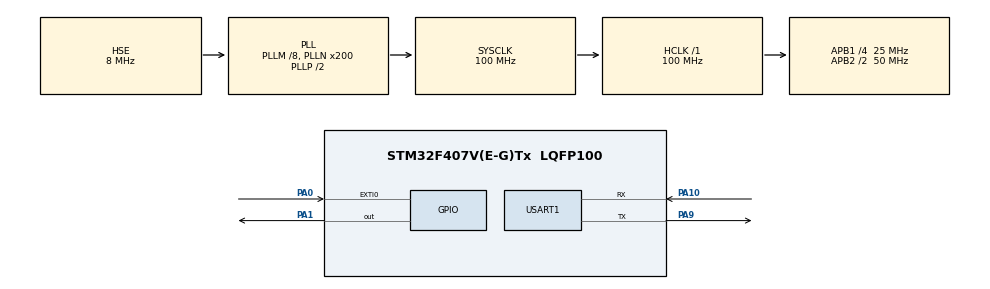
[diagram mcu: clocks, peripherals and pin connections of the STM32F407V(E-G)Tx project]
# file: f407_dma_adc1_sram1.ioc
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ADC1.Channel-0\#ChannelRegularConversion=ADC_CHANNEL_TEMPSENSOR
ADC1.Channel-1\#ChannelRegularConversion=ADC_CHANNEL_TEMPSENSOR
ADC1.Channel-10\#ChannelRegularConversion=ADC_CHANNEL_TEMPSENSOR
ADC1.Channel-11\#ChannelRegularConversion=ADC_CHANNEL_TEMPSENSOR
ADC1.Channel-12\#ChannelRegularConversion=ADC_CHANNEL_TEMPSENSOR
ADC1.Channel-13\#ChannelRegularConversion=ADC_CHANNEL_TEMPSENSOR
ADC1.Channel-14\#ChannelRegularConversion=ADC_CHANNEL_TEMPSENSOR
ADC1.Channel-15\#ChannelRegularConversion=ADC_CHANNEL_TEMPSENSOR
ADC1.Channel-2\#ChannelRegularConversion=ADC_CHANNEL_TEMPSENSOR
ADC1.Channel-3\#ChannelRegularConversion=ADC_CHANNEL_TEMPSENSOR
ADC1.Channel-4\#ChannelRegularConversion=ADC_CHANNEL_TEMPSENSOR
ADC1.Channel-5\#ChannelRegularConversion=ADC_CHANNEL_TEMPSENSOR
ADC1.Channel-6\#ChannelRegularConversion=ADC_CHANNEL_TEMPSENSOR
ADC1.Channel-7\#ChannelRegularConversion=ADC_CHANNEL_TEMPSENSOR
ADC1.Channel-8\#ChannelRegularConversion=ADC_CHANNEL_TEMPSENSOR
ADC1.Channel-9\#ChannelRegularConversion=ADC_CHANNEL_TEMPSENSOR
ADC1.ContinuousConvMode=ENABLE
ADC1.DMAContinuousRequests=ENABLE
ADC1.NbrOfConversion=16
ADC1.NbrOfConversionFlag=1
ADC1.Rank-0\#ChannelRegularConversion=1
ADC1.Rank-1\#ChannelRegularConversion=2
ADC1.Rank-10\#ChannelRegularConversion=11
ADC1.Rank-11\#ChannelRegularConversion=12
ADC1.Rank-12\#ChannelRegularConversion=13
ADC1.Rank-13\#ChannelRegularConversion=14
ADC1.Rank-14\#ChannelRegularConversion=15
ADC1.Rank-15\#ChannelRegularConversion=16
ADC1.Rank-2\#ChannelRegularConversion=3
ADC1.Rank-3\#ChannelRegularConversion=4
ADC1.Rank-4\#ChannelRegularConversion=5
ADC1.Rank-5\#ChannelRegularConversion=6
ADC1.Rank-6\#ChannelRegularConversion=7
ADC1.Rank-7\#ChannelRegularConversion=8
ADC1.Rank-8\#ChannelRegularConversion=9
ADC1.Rank-9\#ChannelRegularConversion=10
ADC1.SamplingTime-0\#ChannelRegularConversion=ADC_SAMPLETIME_3CYCLES
ADC1.SamplingTime-1\#ChannelRegularConversion=ADC_SAMPLETIME_3CYCLES
ADC1.SamplingTime-10\#ChannelRegularConversion=ADC_SAMPLETIME_3CYCLES
ADC1.SamplingTime-11\#ChannelRegularConversion=ADC_SAMPLETIME_3CYCLES
ADC1.SamplingTime-12\#ChannelRegularConversion=ADC_SAMPLETIME_3CYCLES
ADC1.SamplingTime-13\#ChannelRegularConversion=ADC_SAMPLETIME_3CYCLES
ADC1.SamplingTime-14\#ChannelRegularConversion=ADC_SAMPLETIME_3CYCLES
ADC1.SamplingTime-15\#ChannelRegularConversion=ADC_SAMPLETIME_3CYCLES
ADC1.SamplingTime-2\#ChannelRegularConversion=ADC_SAMPLETIME_3CYCLES
ADC1.SamplingTime-3\#ChannelRegularConversion=ADC_SAMPLETIME_3CYCLES
ADC1.SamplingTime-4\#ChannelRegularConversion=ADC_SAMPLETIME_3CYCLES
ADC1.SamplingTime-5\#ChannelRegularConversion=ADC_SAMPLETIME_3CYCLES
ADC1.SamplingTime-6\#ChannelRegularConversion=ADC_SAMPLETIME_3CYCLES
ADC1.SamplingTime-7\#ChannelRegularConversion=ADC_SAMPLETIME_3CYCLES
ADC1.SamplingTime-8\#ChannelRegularConversion=ADC_SAMPLETIME_3CYCLES
ADC1.SamplingTime-9\#ChannelRegularConversion=ADC_SAMPLETIME_3CYCLES
ADC1.master=1
Dma.ADC1.0.Direction=DMA_PERIPH_TO_MEMORY
Dma.ADC1.0.FIFOMode=DMA_FIFOMODE_DISABLE
Dma.ADC1.0.Instance=DMA2_Stream4
Dma.ADC1.0.MemDataAlignment=DMA_MDATAALIGN_HALFWORD
Dma.ADC1.0.MemInc=DMA_MINC_ENABLE
Dma.ADC1.0.Mode=DMA_NORMAL
Dma.ADC1.0.PeriphDataAlignment=DMA_PDATAALIGN_HALFWORD
Dma.ADC1.0.PeriphInc=DMA_PINC_DISABLE
Dma.ADC1.0.Priority=DMA_PRIORITY_LOW
Dma.Request0=ADC1
Mcu.Family=STM32F4
Mcu.Name=STM32F407V(E-G)Tx
Mcu.Package=LQFP100
NVIC.DMA2_Stream4_IRQn=true\:0\:0\:false\:false\:true\:false\:true
NVIC.EXTI0_IRQn=true\:0\:0\:false\:false\:true\:true\:true
NVIC.PriorityGroup=NVIC_PRIORITYGROUP_4
PA0-WKUP.GPIO_PuPd=GPIO_PULLDOWN
PA0-WKUP.Signal=GPXTI0
PA1.Signal=GPIO_Output
PA10.Mode=Asynchronous
PA10.Signal=USART1_RX
PA13.Mode=Serial_Wire
PA13.Signal=SYS_JTMS-SWDIO
PA14.Mode=Serial_Wire
PA14.Signal=SYS_JTCK-SWCLK
PA9.Mode=Asynchronous
PA9.Signal=USART1_TX
PH0-OSC_IN.Mode=HSE-External-Oscillator
PH0-OSC_IN.Signal=RCC_OSC_IN
PH1-OSC_OUT.Mode=HSE-External-Oscillator
PH1-OSC_OUT.Signal=RCC_OSC_OUT
ProjectManager.HeapSize=0x200
ProjectManager.StackSize=0x400
ProjectManager.TargetToolchain=STM32CubeIDE
RCC.48MHZClocksFreq_Value=50000000
RCC.AHBFreq_Value=100000000
RCC.APB1CLKDivider=RCC_HCLK_DIV4
RCC.APB1Freq_Value=25000000
RCC.APB1TimFreq_Value=50000000
RCC.APB2CLKDivider=RCC_HCLK_DIV2
RCC.APB2Freq_Value=50000000
RCC.APB2TimFreq_Value=100000000
RCC.CortexFreq_Value=100000000
RCC.HCLKFreq_Value=100000000
RCC.HSE_VALUE=8000000
RCC.HSI_VALUE=16000000
RCC.LSE_VALUE=32768
RCC.PLLM=8
RCC.PLLN=200
RCC.PLLSourceVirtual=RCC_PLLSOURCE_HSE
RCC.SYSCLKFreq_VALUE=100000000
RCC.SYSCLKSource=RCC_SYSCLKSOURCE_PLLCLK
RCC.VCOOutputFreq_Value=200000000
USART1.VirtualMode=VM_ASYNC
VP_ADC1_TempSens_Input.Mode=IN-TempSens
board=custom

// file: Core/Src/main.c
/* USER CODE BEGIN Header */
// DevEBox STM32F407VGT6 dev board
// Demo DMA data transfer between ADC1 and SRAM1 using DMA2 master.
// Using CubeMX configure :
// ADC1 input channel : internal temperature
// 12bit conversion
// continuous mode
// 16 samples at a time
// software conversion trigger
// DMA2 stream4 for the DMA/channel/stream mapping.
// Conversion triggered by user pressing the PA0 board button K1 which connects the
// pin to VCC.
// Put the destinationBuffer in watch expressions window, and a breakpoint in the
// adcConvCmpltCallback, so you can see the new buffer values after each button
// press.
// Unfortunately was getting negative temperatures and on googling found this
// https://stm32f4-discovery.net/2014/04/library-06-ad-converter-on-stm32f4xx/
// So the internal temperature sensor is only useful for measuring temperature changes,
// not absolute temperatures.

/* USER CODE END Header */

#include "main.h"

/* USER CODE BEGIN Includes */
#include <stdio.h>
#include <string.h>
/* USER CODE END Includes */

ADC_HandleTypeDef hadc1;
DMA_HandleTypeDef hdma_adc1;

UART_HandleTypeDef huart1;

void SystemClock_Config(void);
static void MX_GPIO_Init(void);
static void MX_DMA_Init(void);
static void MX_USART1_UART_Init(void);
static void MX_ADC1_Init(void);

/* USER CODE BEGIN 0 */
uint16_t destinationBuffer[16];
/* USER CODE END 0 */

int main(void)
{

  /* MCU Configuration--------------------------------------------------------*/

  /* Reset of all peripherals, Initializes the Flash interface and the Systick. */
  HAL_Init();

  /* Configure the system clock */
  SystemClock_Config();

  /* Initialize all configured peripherals */
  MX_GPIO_Init();
  MX_DMA_Init();
  MX_USART1_UART_Init();
  MX_ADC1_Init();

  /* Infinite loop */
  while (1)
  {

  }
}

void SystemClock_Config(void)
{
  RCC_OscInitTypeDef RCC_OscInitStruct = {0};
  RCC_ClkInitTypeDef RCC_ClkInitStruct = {0};

  /** Configure the main internal regulator output voltage
  */
  __HAL_RCC_PWR_CLK_ENABLE();
  __HAL_PWR_VOLTAGESCALING_CONFIG(PWR_REGULATOR_VOLTAGE_SCALE1);
  /** Initializes the CPU, AHB and APB busses clocks
  */
  RCC_OscInitStruct.OscillatorType = RCC_OSCILLATORTYPE_HSE;
  RCC_OscInitStruct.HSEState = RCC_HSE_ON;
  RCC_OscInitStruct.PLL.PLLState = RCC_PLL_ON;
  RCC_OscInitStruct.PLL.PLLSource = RCC_PLLSOURCE_HSE;
  RCC_OscInitStruct.PLL.PLLM = 8;
  RCC_OscInitStruct.PLL.PLLN = 200;
  RCC_OscInitStruct.PLL.PLLP = RCC_PLLP_DIV2;
  RCC_OscInitStruct.PLL.PLLQ = 4;
  if (HAL_RCC_OscConfig(&RCC_OscInitStruct) != HAL_OK)
  {
    Error_Handler();
  }
  /** Initializes the CPU, AHB and APB busses clocks
  */
  RCC_ClkInitStruct.ClockType = RCC_CLOCKTYPE_HCLK|RCC_CLOCKTYPE_SYSCLK
                              |RCC_CLOCKTYPE_PCLK1|RCC_CLOCKTYPE_PCLK2;
  RCC_ClkInitStruct.SYSCLKSource = RCC_SYSCLKSOURCE_PLLCLK;
  RCC_ClkInitStruct.AHBCLKDivider = RCC_SYSCLK_DIV1;
  RCC_ClkInitStruct.APB1CLKDivider = RCC_HCLK_DIV4;
  RCC_ClkInitStruct.APB2CLKDivider = RCC_HCLK_DIV2;

  if (HAL_RCC_ClockConfig(&RCC_ClkInitStruct, FLASH_LATENCY_3) != HAL_OK)
  {
    Error_Handler();
  }
}

static void MX_ADC1_Init(void)
{

  ADC_ChannelConfTypeDef sConfig = {0};

  /** Configure the global features of the ADC (Clock, Resolution, Data Alignment and number of conversion)
  */
  hadc1.Instance = ADC1;
  hadc1.Init.ClockPrescaler = ADC_CLOCK_SYNC_PCLK_DIV2;
  hadc1.Init.Resolution = ADC_RESOLUTION_12B;
  hadc1.Init.ScanConvMode = ENABLE;
  hadc1.Init.ContinuousConvMode = ENABLE;
  hadc1.Init.DiscontinuousConvMode = DISABLE;
  hadc1.Init.ExternalTrigConvEdge = ADC_EXTERNALTRIGCONVEDGE_NONE;
  hadc1.Init.ExternalTrigConv = ADC_SOFTWARE_START;
  hadc1.Init.DataAlign = ADC_DATAALIGN_RIGHT;
  hadc1.Init.NbrOfConversion = 16;
  hadc1.Init.DMAContinuousRequests = ENABLE;
  hadc1.Init.EOCSelection = ADC_EOC_SINGLE_CONV;
  if (HAL_ADC_Init(&hadc1) != HAL_OK)
  {
    Error_Handler();
  }
  /** Configure for the selected ADC regular channel its corresponding rank in the sequencer and its sample time.
  */
  sConfig.Channel = ADC_CHANNEL_TEMPSENSOR;
  sConfig.Rank = 1;
  sConfig.SamplingTime = ADC_SAMPLETIME_3CYCLES;
  if (HAL_ADC_ConfigChannel(&hadc1, &sConfig) != HAL_OK)
  {
    Error_Handler();
  }
  /** Configure for the selected ADC regular channel its corresponding rank in the sequencer and its sample time.
  */
  sConfig.Rank = 2;
  if (HAL_ADC_ConfigChannel(&hadc1, &sConfig) != HAL_OK)
  {
    Error_Handler();
  }
  /** Configure for the selected ADC regular channel its corresponding rank in the sequencer and its sample time.
  */
  sConfig.Rank = 3;
  if (HAL_ADC_ConfigChannel(&hadc1, &sConfig) != HAL_OK)
  {
    Error_Handler();
  }
  /** Configure for the selected ADC regular channel its corresponding rank in the sequencer and its sample time.
  */
  sConfig.Rank = 4;
  if (HAL_ADC_ConfigChannel(&hadc1, &sConfig) != HAL_OK)
  {
    Error_Handler();
  }
  /** Configure for the selected ADC regular channel its corresponding rank in the sequencer and its sample time.
  */
  sConfig.Rank = 5;
  if (HAL_ADC_ConfigChannel(&hadc1, &sConfig) != HAL_OK)
  {
    Error_Handler();
  }
  /** Configure for the selected ADC regular channel its corresponding rank in the sequencer and its sample time.
  */
  sConfig.Rank = 6;
  if (HAL_ADC_ConfigChannel(&hadc1, &sConfig) != HAL_OK)
  {
    Error_Handler();
  }
  /** Configure for the selected ADC regular channel its corresponding rank in the sequencer and its sample time.
  */
  sConfig.Rank = 7;
  if (HAL_ADC_ConfigChannel(&hadc1, &sConfig) != HAL_OK)
  {
    Error_Handler();
  }
  /** Configure for the selected ADC regular channel its corresponding rank in the sequencer and its sample time.
  */
  sConfig.Rank = 8;
  if (HAL_ADC_ConfigChannel(&hadc1, &sConfig) != HAL_OK)
  {
    Error_Handler();
  }
  /** Configure for the selected ADC regular channel its corresponding rank in the sequencer and its sample time.
  */
  sConfig.Rank = 9;
  if (HAL_ADC_ConfigChannel(&hadc1, &sConfig) != HAL_OK)
  {
    Error_Handler();
  }
  /** Configure for the selected ADC regular channel its corresponding rank in the sequencer and its sample time.
  */
  sConfig.Rank = 10;
  if (HAL_ADC_ConfigChannel(&hadc1, &sConfig) != HAL_OK)
  {
    Error_Handler();
  }
  /** Configure for the selected ADC regular channel its corresponding rank in the sequencer and its sample time.
  */
  sConfig.Rank = 11;
  if (HAL_ADC_ConfigChannel(&hadc1, &sConfig) != HAL_OK)
  {
    Error_Handler();
  }
  /** Configure for the selected ADC regular channel its corresponding rank in the sequencer and its sample time.
  */
  sConfig.Rank = 12;
  if (HAL_ADC_ConfigChannel(&hadc1, &sConfig) != HAL_OK)
  {
    Error_Handler();
  }
  /** Configure for the selected ADC regular channel its corresponding rank in the sequencer and its sample time.
  */
  sConfig.Rank = 13;
  if (HAL_ADC_ConfigChannel(&hadc1, &sConfig) != HAL_OK)
  {
    Error_Handler();
  }
  /** Configure for the selected ADC regular channel its corresponding rank in the sequencer and its sample time.
  */
  sConfig.Rank = 14;
  if (HAL_ADC_ConfigChannel(&hadc1, &sConfig) != HAL_OK)
  {
    Error_Handler();
  }
  /** Configure for the selected ADC regular channel its corresponding rank in the sequencer and its sample time.
  */
  sConfig.Rank = 15;
  if (HAL_ADC_ConfigChannel(&hadc1, &sConfig) != HAL_OK)
  {
    Error_Handler();
  }
  /** Configure for the selected ADC regular channel its corresponding rank in the sequencer and its sample time.
  */
  sConfig.Rank = 16;
  if (HAL_ADC_ConfigChannel(&hadc1, &sConfig) != HAL_OK)
  {
    Error_Handler();
  }

}

static void MX_USART1_UART_Init(void)
{

  huart1.Instance = USART1;
  huart1.Init.BaudRate = 115200;
  huart1.Init.WordLength = UART_WORDLENGTH_8B;
  huart1.Init.StopBits = UART_STOPBITS_1;
  huart1.Init.Parity = UART_PARITY_NONE;
  huart1.Init.Mode = UART_MODE_TX_RX;
  huart1.Init.HwFlowCtl = UART_HWCONTROL_NONE;
  huart1.Init.OverSampling = UART_OVERSAMPLING_16;
  if (HAL_UART_Init(&huart1) != HAL_OK)
  {
    Error_Handler();
  }

}

static void MX_DMA_Init(void)
{

  /* DMA controller clock enable */
  __HAL_RCC_DMA2_CLK_ENABLE();

  /* DMA interrupt init */
  /* DMA2_Stream4_IRQn interrupt configuration */
  HAL_NVIC_SetPriority(DMA2_Stream4_IRQn, 0, 0);
  HAL_NVIC_EnableIRQ(DMA2_Stream4_IRQn);

}

static void MX_GPIO_Init(void)
{
  GPIO_InitTypeDef GPIO_InitStruct = {0};

  /* GPIO Ports Clock Enable */
  __HAL_RCC_GPIOH_CLK_ENABLE();
  __HAL_RCC_GPIOA_CLK_ENABLE();

  /*Configure GPIO pin Output Level */
  HAL_GPIO_WritePin(GPIOA, GPIO_PIN_1, GPIO_PIN_RESET);

  /*Configure GPIO pin : PA0 */
  GPIO_InitStruct.Pin = GPIO_PIN_0;
  GPIO_InitStruct.Mode = GPIO_MODE_IT_RISING;
  GPIO_InitStruct.Pull = GPIO_PULLDOWN;
  HAL_GPIO_Init(GPIOA, &GPIO_InitStruct);

  /*Configure GPIO pin : PA1 */
  GPIO_InitStruct.Pin = GPIO_PIN_1;
  GPIO_InitStruct.Mode = GPIO_MODE_OUTPUT_PP;
  GPIO_InitStruct.Pull = GPIO_NOPULL;
  GPIO_InitStruct.Speed = GPIO_SPEED_FREQ_LOW;
  HAL_GPIO_Init(GPIOA, &GPIO_InitStruct);

  /* EXTI interrupt init*/
  HAL_NVIC_SetPriority(EXTI0_IRQn, 0, 0);
  HAL_NVIC_EnableIRQ(EXTI0_IRQn);

}

/* USER CODE BEGIN 4 */
void HAL_GPIO_EXTI_Callback(uint16_t gpioPin) {
	// transferring 16 half-words by DMA
	if (HAL_OK !=  HAL_ADC_Start_DMA(&hadc1, (uint32_t*)destinationBuffer, 16)) {
		Error_Handler();
		}
	}

char msg[50];

// this callback is common to both cpu isr and dma transfer
void HAL_ADC_ConvCpltCallback(ADC_HandleTypeDef* hadc){
   uint32_t accum = 0;
   for (int inx = 0; inx < 16; inx++) {
	   accum += (uint32_t)destinationBuffer[inx];
   	   }
   accum /= 16;
   // from hal code, when int temperature sensor is used, vref = vrefint
   // value = 1.21V from datasheet
   float vref = 1.21f;
   float vsense = ((float)accum * vref)/4095.0f;
   // from datasheet
   float v25 = 0.76f;
   float avgSlope = 0.0025f;
   // from ref manual
   float temperatureC = 25.0f + (vsense - v25)/avgSlope;
   // add _u_printf_float to linker flags to print floats
   sprintf(msg, "Internal temperature : %3.2f C\r\n", temperatureC);
   HAL_UART_Transmit(&huart1, (uint8_t*)msg, strlen(msg), HAL_MAX_DELAY);
}

/* USER CODE END 4 */

void Error_Handler(void)
{
  /* USER CODE BEGIN Error_Handler_Debug */
  /* User can add his own implementation to report the HAL error return state */
	int counter = 0;
	while (1) {
		HAL_GPIO_TogglePin(GPIOA, GPIO_PIN_1);
		while (counter < 0x3FFFF) {counter++;}
		counter = 0;
		}
  /* USER CODE END Error_Handler_Debug */
}

/************************ (C) COPYRIGHT STMicroelectronics *****END OF FILE****/
